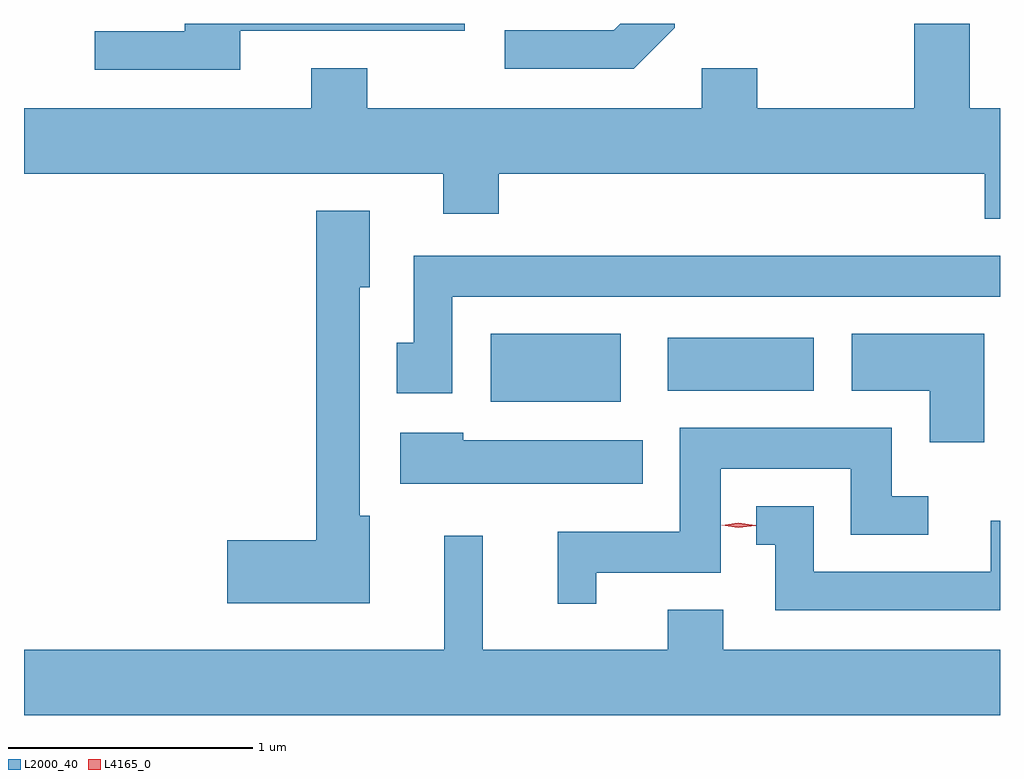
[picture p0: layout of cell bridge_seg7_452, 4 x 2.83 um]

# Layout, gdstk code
import gdstk
lib = gdstk.Library(unit=1e-6, precision=1e-09)
def R(c, l, rs):  # rectangles x0, y0, x1, y1
    for r in rs: c.add(gdstk.rectangle(r[:2], r[2:], *l))
def P(c, l, *ps):  # polygons
    for p in ps: c.add(gdstk.Polygon(p, *l))
L2000_40 = (2000, 40)
L4165_0 = (4165, 0)

bridge_seg7_452 = lib.new_cell('bridge_seg7_452')
R(bridge_seg7_452, L2000_40, [(1076.626,1702.281,1077.159,1702.559), (1077.351,1702.326,1077.949,1702.544)])
P(bridge_seg7_452, L2000_40, [(1077.379,1703.814),(1077.379,1703.831),(1077.156,1703.831),(1077.129,1703.804),(1076.683,1703.804),(1076.683,1703.646),(1077.212,1703.646)],
  [(1075.599,1703.801),(1076.519,1703.801),(1076.519,1703.831),(1075.371,1703.831),(1075.371,1703.799),(1075.003,1703.799),(1075.003,1703.641),(1075.599,1703.641)],
  [(1078.713,1703.484),(1078.589,1703.484),(1078.589,1703.831),(1078.361,1703.831),(1078.361,1703.484),(1077.719,1703.484),(1077.719,1703.649),(1077.491,1703.649),(1077.491,1703.484),(1076.119,1703.484),(1076.119,1703.649),(1075.891,1703.649),(1075.891,1703.484),(1074.713,1703.484),(1074.713,1703.216),(1076.431,1703.216),(1076.431,1703.051),(1076.659,1703.051),(1076.659,1703.216),(1078.651,1703.216),(1078.651,1703.031),(1078.713,1703.031)],
  [(1076.129,1701.814),(1076.089,1701.814),(1076.089,1702.751),(1076.129,1702.751),(1076.129,1703.064),(1075.911,1703.064),(1075.911,1701.714),(1075.546,1701.714),(1075.546,1701.456),(1076.129,1701.456)],
  [(1076.469,1702.711),(1078.713,1702.711),(1078.713,1702.879),(1076.311,1702.879),(1076.311,1702.524),(1076.241,1702.524),(1076.241,1702.316),(1076.469,1702.316)],
  [(1078.649,1702.559),(1078.106,1702.559),(1078.106,1702.326),(1078.426,1702.326),(1078.426,1702.116),(1078.649,1702.116)],
  [(1077.059,1701.581),(1077.569,1701.581),(1077.569,1702.006),(1078.101,1702.006),(1078.101,1701.736),(1078.418,1701.736),(1078.418,1701.894),(1078.269,1701.894),(1078.269,1702.174),(1077.401,1702.174),(1077.401,1701.749),(1076.901,1701.749),(1076.901,1701.453),(1077.059,1701.453)],
  [(1077.249,1702.124),(1076.514,1702.124),(1076.514,1702.154),(1076.256,1702.154),(1076.256,1701.946),(1077.249,1701.946)],
  [(1078.713,1701.793),(1078.676,1701.793),(1078.676,1701.584),(1077.949,1701.584),(1077.949,1701.854),(1077.713,1701.854),(1077.713,1701.696),(1077.791,1701.696),(1077.791,1701.426),(1078.713,1701.426)],
  [(1078.713,1701.264),(1077.579,1701.264),(1077.579,1701.429),(1077.351,1701.429),(1077.351,1701.264),(1076.594,1701.264),(1076.594,1701.733),(1076.436,1701.733),(1076.436,1701.264),(1074.713,1701.264),(1074.713,1700.996),(1078.713,1700.996)])
P(bridge_seg7_452, L4165_0, [(1077.641,1701.765),(1077.572,1701.775),(1077.572,1701.775),(1077.572,1701.776),(1077.641,1701.785),(1077.711,1701.775),(1077.711,1701.775),(1077.711,1701.774)])

lib.write_gds('bridge_seg7_452.gds')
